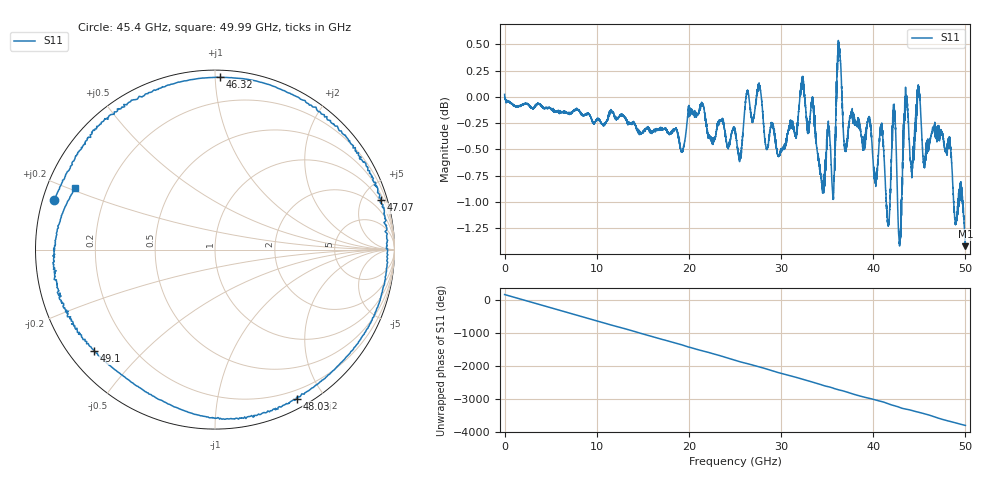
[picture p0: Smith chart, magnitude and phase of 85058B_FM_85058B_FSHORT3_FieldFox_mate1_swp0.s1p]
!Created with skrf (http://scikit-rf.org).
# Hz S RI R 50.0
!freq ReS11 ImS11
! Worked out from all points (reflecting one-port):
!   10000 points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, 5.3 MHz to 50 GHz, reference 50 ohm
!   lowest |S11| = -1.4 dB at 50 GHz (marker M1), VSWR 12.25, Z = 4.28 + j11 ohm
!   phase of S11 starts at 180 deg and turns -3985 deg over the sweep
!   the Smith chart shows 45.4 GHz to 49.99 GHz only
!   S11 on the Smith chart (normalised r, x): 45.4 GHz: 0.03, +0.15; 46.32 GHz: 0.04, +1.03; 47.07 GHz: 0.90, +6.74; 48.03 GHz: 0.10, -1.69; 49.1 GHz: 0.07, -0.36; 49.99 GHz: 0.08, +0.21
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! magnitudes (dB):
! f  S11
! 5.3 MHz  0.0
! 6.255 GHz  -0.1
! 12.51 GHz  -0.2
! 18.76 GHz  -0.3
! 25.01 GHz  -0.3
! 27.59 GHz  0.1
! 28.45 GHz  -0.5
! 31.26 GHz  -0.3
! 32.33 GHz  0.1
! 35.63 GHz  -1.0
! 36.29 GHz  0.5
! 36.94 GHz  -0.5
! 37.51 GHz  -0.2
! 40.25 GHz  -0.8
! 40.9 GHz  -0.3
! 41.6 GHz  -1.2
! 42.27 GHz  -0.2
! 42.86 GHz  -1.4
! 43.76 GHz  -0.2
! 44.23 GHz  -0.7
! 44.94 GHz  0.0
! 45.4 GHz  -0.6
! 46.32 GHz  -0.4
! 47.07 GHz  -0.3
! 48.03 GHz  -0.5
! 49.1 GHz  -1.1
! 49.99 GHz  -1.4
! 50 GHz  -1.4
